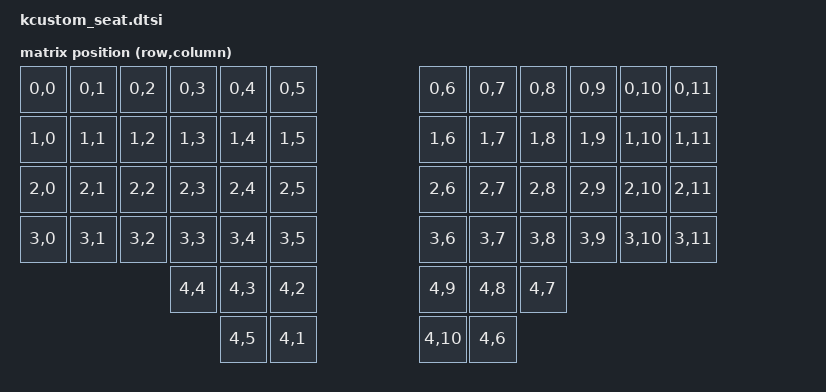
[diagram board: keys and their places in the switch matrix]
/*
 * Copyright (c) 2020 Pete Johanson, Ryan Cross
 *
 * SPDX-License-Identifier: MIT
 */

 #include <dt-bindings/zmk/matrix_transform.h>
 #include "trackball.dtsi"

 / {
     chosen {
         zmk,kscan = &kscan0;
         zmk,matrix-transform = &default_transform;
         /delete-property/ zephyr,console;
         /delete-property/ zephyr,shell-uart;
     };
    
     pro_micro_kc: connector {
         compatible = "arduino-pro-micro";
         #gpio-cells = <2>;
         gpio-map-mask = <0xffffffff 0xffffffc0>;
         gpio-map-pass-thru = <0 0x3f>;
         gpio-map
            = <0 0 &gpio0 6 0>      /* D0 */
            , <1 0 &gpio0 8 0>      /* D1 */
            , <2 0 &gpio0 17 0>     /* D2 */
            , <3 0 &gpio0 20 0>     /* D3 */
            , <4 0 &gpio0 22 0>     /* D4/A6 */
            , <5 0 &gpio0 24 0>     /* D5 */
            , <6 0 &gpio1 0 0>      /* D6/A7 */
            , <7 0 &gpio0 11 0>     /* D7 */
            , <8 0 &gpio1 4 0>      /* D8/A8 */
            , <9 0 &gpio1 6 0>      /* D9/A9 */
            , <10 0 &gpio0 9 0>     /* D10/A10 */
            , <11 0 &gpio0 10 0>    /* D11 */
            , <12 0 &gpio1 11 0>    /* D12 */
            , <13 0 &gpio1 13 0>    /* D13 */
            , <14 0 &gpio1 15 0>    /* D14 */
            , <15 0 &gpio0 2 0>    /* D15 */
            , <16 0 &gpio0 29 0>    /* D16 */
            , <17 0 &gpio0 31 0>    /* D17 */
            , <18 0 &gpio1 1 0>    /* D18/A0 */
            , <19 0 &gpio1 2 0> /* D19/A1 */
            , <20 0 &gpio1 7 0>    /* D20/A2 */
            ;
     };
 
     default_transform: keymap_transform_0 {
        compatible = "zmk,matrix-transform";
        columns = <12>;
        rows = <5>;
        map = <
RC(0,0) RC(0,1) RC(0,2) RC(0,3) RC(0,4) RC(0,5)                 RC(0,6) RC(0,7) RC(0,8) RC(0,9) RC(0,10) RC(0,11)
RC(1,0) RC(1,1) RC(1,2) RC(1,3) RC(1,4) RC(1,5)                 RC(1,6) RC(1,7) RC(1,8) RC(1,9) RC(1,10) RC(1,11)
RC(2,0) RC(2,1) RC(2,2) RC(2,3) RC(2,4) RC(2,5)                 RC(2,6) RC(2,7) RC(2,8) RC(2,9) RC(2,10) RC(2,11)
RC(3,0) RC(3,1) RC(3,2) RC(3,3) RC(3,4) RC(3,5)                 RC(3,6) RC(3,7) RC(3,8) RC(3,9) RC(3,10) RC(3,11)
                        RC(4,4) RC(4,3) RC(4,2)                 RC(4,9) RC(4,8) RC(4,7)
                                RC(4,5) RC(4,1)                 RC(4,10) RC(4,6) 
        >;
    };

    kscan0: kscan {
        compatible = "zmk,kscan-gpio-matrix";
        label = "KSCAN";
        wakeup-source;
        diode-direction = "row2col"; 
    };
};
